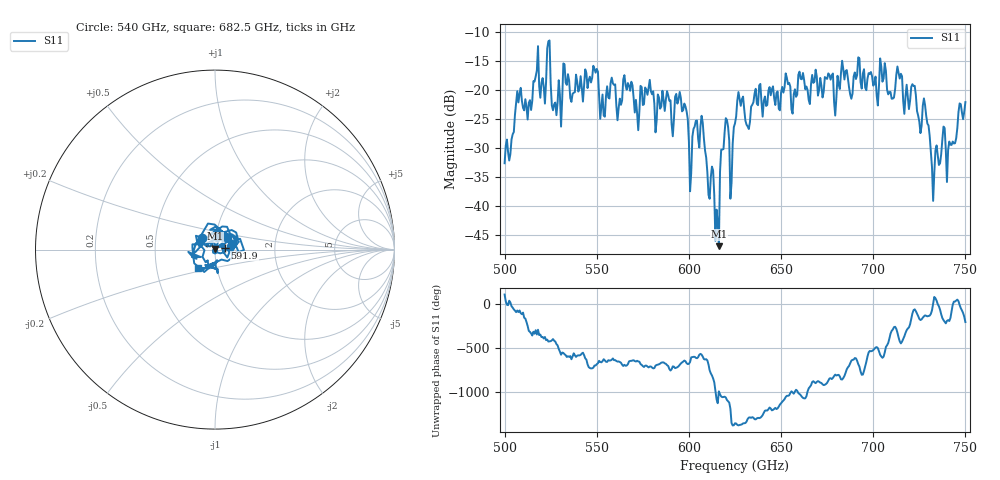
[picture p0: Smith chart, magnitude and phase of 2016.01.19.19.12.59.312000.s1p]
!Created with skrf (http://scikit-rf.org).
# GHz S RI R 50.0
!freq ReS11 ImS11
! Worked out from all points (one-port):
!   401 points, 500 GHz to 750 GHz, reference 50 ohm
!   lowest |S11| = -47.0 dB at 616.2 GHz (marker M1), VSWR 1.01, Z = 50 + j0.446 ohm
!   |S11| at or under -10 dB: start of sweep to end of sweep
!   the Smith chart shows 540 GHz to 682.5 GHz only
!   S11 on the Smith chart (normalised r, x): 540 GHz: 0.86, +0.11; 591.9 GHz: 1.12, +0.02; 682.5 GHz: 0.81, -0.17
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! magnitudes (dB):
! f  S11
! 500 GHz  -32.7
! 516.9 GHz  -17.7
! 520.6 GHz  -18.0
! 523.8 GHz  -11.6
! 526.9 GHz  -22.5
! 531.2 GHz  -21.6
! 540 GHz  -20.3
! 562.5 GHz  -21.5
! 565.6 GHz  -19.2
! 571.9 GHz  -24.0
! 577.5 GHz  -20.9
! 591.9 GHz  -25.0
! 593.8 GHz  -22.4
! 601.2 GHz  -34.3
! 607.5 GHz  -25.7
! 615 GHz  -40.7
! 616.2 GHz  -47.0
! 619.4 GHz  -27.3
! 623.1 GHz  -36.1
! 625 GHz  -25.8
! 656.2 GHz  -24.1
! 682.5 GHz  -17.1
! 687.5 GHz  -20.8
! 705 GHz  -18.6
! 718.8 GHz  -21.3
! 728.1 GHz  -22.7
! 732.5 GHz  -39.2
! 750 GHz  -22.1
